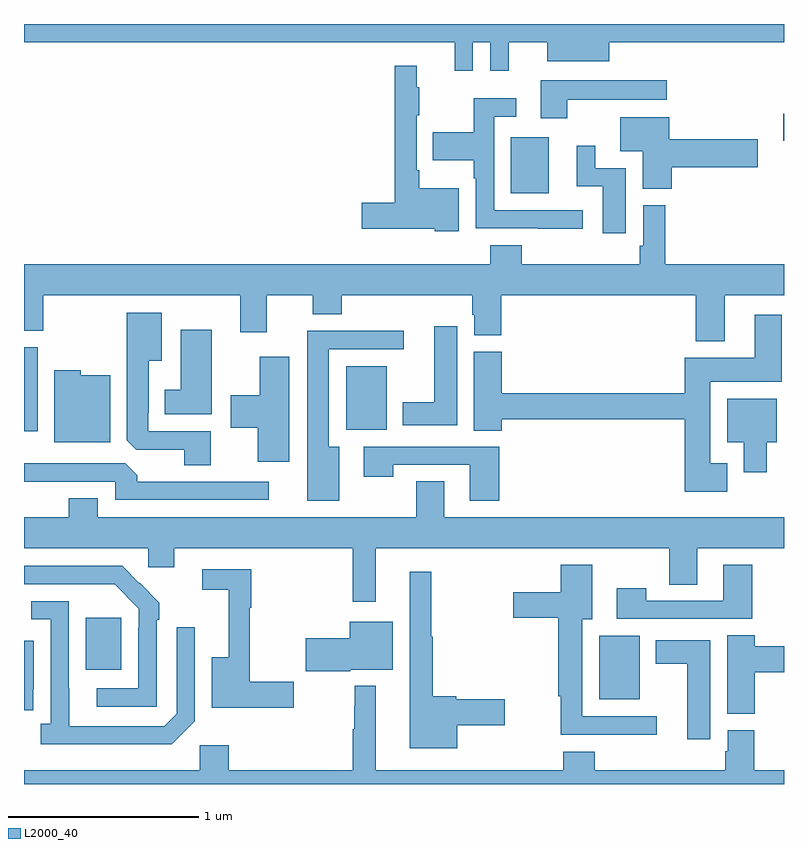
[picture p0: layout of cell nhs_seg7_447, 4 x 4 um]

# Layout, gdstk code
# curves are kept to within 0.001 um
import gdstk
lib = gdstk.Library(unit=1e-6, precision=1e-09)
def R(c, l, rs):  # rectangles x0, y0, x1, y1
    for r in rs: c.add(gdstk.rectangle(r[:2], r[2:], *l))
def P(c, l, *ps):  # polygons
    for p in ps: c.add(gdstk.Polygon(p, *l))
L2000_40 = (2000, 40)

nhs_seg7_447 = lib.new_cell('nhs_seg7_447')
R(nhs_seg7_447, L2000_40, [(148.028,1042.445,148.24,1042.78), (145.325,1042.601,145.513,1042.876), (145,1043.856,145.072,1044.3), (146.696,1043.864,146.908,1044.199), (147.563,1045.109,147.763,1045.405), (148.995,1045.385,149,1045.527)])
P(nhs_seg7_447, L2000_40, [(147.363,1045.904),(147.453,1045.904),(147.453,1045.755),(147.551,1045.755),(147.551,1045.904),(147.755,1045.904),(147.755,1045.805),(148.081,1045.805),(148.081,1045.904),(149,1045.904),(149,1046),(145,1046),(145,1045.904),(147.266,1045.904),(147.266,1045.755),(147.363,1045.755)],
  [(147.289,1045.135),(147.079,1045.135),(147.079,1045.231),(147.066,1045.231),(147.066,1045.519),(147.079,1045.519),(147.079,1045.667),(147.068,1045.667),(147.068,1045.78),(146.95,1045.78),(146.95,1045.058),(146.778,1045.058),(146.778,1044.923),(147.162,1044.923),(147.162,1044.908),(147.289,1044.908)],
  [(147.859,1045.601),(148.384,1045.601),(148.384,1045.705),(147.719,1045.705),(147.719,1045.503),(147.859,1045.503)],
  [(147.94,1045.02),(147.474,1045.02),(147.474,1045.512),(147.592,1045.512),(147.592,1045.609),(147.366,1045.609),(147.366,1045.43),(147.151,1045.43),(147.151,1045.283),(147.366,1045.283),(147.366,1045.187),(147.378,1045.187),(147.378,1044.924),(147.703,1044.924),(147.703,1044.923),(147.94,1044.923)],
  [(148.409,1045.247),(148.861,1045.247),(148.861,1045.394),(148.396,1045.394),(148.396,1045.51),(148.139,1045.51),(148.139,1045.331),(148.256,1045.331),(148.256,1045.134),(148.409,1045.134)],
  [(148.168,1045.242),(148.006,1045.242),(148.006,1045.36),(147.908,1045.36),(147.908,1045.146),(148.046,1045.146),(148.046,1044.9),(148.168,1044.9)],
  [(145,1044.385),(145.101,1044.385),(145.101,1044.572),(146.138,1044.572),(146.138,1044.378),(146.278,1044.378),(146.278,1044.572),(146.519,1044.572),(146.519,1044.473),(146.672,1044.473),(146.672,1044.572),(147.359,1044.572),(147.359,1044.471),(147.371,1044.471),(147.371,1044.361),(147.512,1044.361),(147.512,1044.572),(148.535,1044.572),(148.535,1044.329),(148.687,1044.329),(148.687,1044.572),(149,1044.572),(149,1044.736),(148.376,1044.736),(148.376,1045.045),(148.26,1045.045),(148.26,1044.832),(148.24,1044.832),(148.24,1044.736),(147.62,1044.736),(147.62,1044.835),(147.455,1044.835),(147.455,1044.736),(145,1044.736)],
  [(145.984,1043.856),(145.653,1043.856),(145.653,1043.953),(145.657,1043.953),(145.657,1044.227),(145.726,1044.227),(145.726,1044.481),(145.541,1044.481),(145.541,1043.809),(145.59,1043.76),(145.844,1043.76),(145.844,1043.677),(145.984,1043.677)],
  [(148.702,1043.689),(148.612,1043.689),(148.612,1044.116),(148.987,1044.116),(148.987,1044.469),(148.847,1044.469),(148.847,1044.244),(148.478,1044.244),(148.478,1044.056),(147.515,1044.056),(147.515,1044.276),(147.368,1044.276),(147.368,1043.86),(147.515,1043.86),(147.515,1043.92),(148.478,1043.92),(148.478,1043.537),(148.702,1043.537)],
  [(147.28,1044.409),(147.158,1044.409),(147.158,1044.01),(146.993,1044.01),(146.993,1043.888),(147.28,1043.888)],
  [(145.987,1044.391),(145.826,1044.391),(145.826,1044.076),(145.742,1044.076),(145.742,1043.945),(145.987,1043.945)],
  [(146.659,1043.776),(146.605,1043.776),(146.605,1044.288),(146.998,1044.288),(146.998,1044.386),(146.492,1044.386),(146.492,1043.49),(146.659,1043.49)],
  [(146.395,1044.25),(146.24,1044.25),(146.24,1044.045),(146.088,1044.045),(146.088,1043.876),(146.231,1043.876),(146.231,1043.697),(146.395,1043.697)],
  [(145.453,1044.151),(145.299,1044.151),(145.299,1044.178),(145.16,1044.178),(145.16,1043.798),(145.453,1043.798)],
  [(148.909,1043.798),(148.963,1043.798),(148.963,1044.028),(148.7,1044.028),(148.7,1043.798),(148.787,1043.798),(148.787,1043.64),(148.909,1043.64)],
  [(147.5,1043.775),(146.787,1043.775),(146.787,1043.616),(146.943,1043.616),(146.943,1043.679),(147.347,1043.679),(147.347,1043.49),(147.5,1043.49)],
  [(146.287,1043.592),(145.595,1043.592),(145.595,1043.626),(145.533,1043.688),(145,1043.688),(145,1043.592),(145.479,1043.592),(145.479,1043.496),(146.287,1043.496)],
  [(146.851,1043.24),(148.396,1043.24),(148.396,1043.05),(148.543,1043.05),(148.543,1043.24),(149,1043.24),(149,1043.404),(147.211,1043.404),(147.211,1043.594),(147.064,1043.594),(147.064,1043.404),(145.387,1043.404),(145.387,1043.503),(145.235,1043.503),(145.235,1043.404),(145,1043.404),(145,1043.24),(145.653,1043.24),(145.653,1043.142),(145.792,1043.142),(145.792,1043.24),(146.73,1043.24),(146.73,1042.959),(146.851,1042.959)],
  [(148.33,1042.356),(147.937,1042.356),(147.937,1042.868),(147.991,1042.868),(147.991,1043.155),(147.824,1043.155),(147.824,1043.008),(147.576,1043.008),(147.576,1042.874),(147.812,1042.874),(147.812,1042.463),(147.824,1042.463),(147.824,1042.259),(148.33,1042.259)],
  [(148.832,1043.155),(148.679,1043.155),(148.679,1042.965),(148.275,1042.965),(148.275,1043.029),(148.119,1043.029),(148.119,1042.869),(148.832,1042.869)],
  [(145.698,1042.865),(145.713,1042.865),(145.713,1042.953),(145.516,1043.148),(145,1043.148),(145,1043.052),(145.477,1043.052),(145.605,1042.923),(145.605,1042.823),(145.602,1042.823),(145.602,1042.503),(145.383,1042.503),(145.383,1042.407),(145.698,1042.407)],
  [(146.419,1042.539),(146.188,1042.539),(146.188,1042.927),(146.195,1042.927),(146.195,1043.13),(145.938,1043.13),(145.938,1043.022),(146.078,1043.022),(146.078,1042.666),(145.988,1042.666),(145.988,1042.402),(146.419,1042.402)],
  [(147.28,1042.31),(147.529,1042.31),(147.529,1042.445),(147.276,1042.445),(147.276,1042.463),(147.151,1042.463),(147.151,1042.775),(147.143,1042.775),(147.143,1043.116),(147.029,1043.116),(147.029,1042.187),(147.28,1042.187)],
  [(145.899,1042.329),(145.899,1042.825),(145.803,1042.825),(145.803,1042.371),(145.737,1042.305),(145.237,1042.305),(145.236,1042.962),(145.038,1042.962),(145.038,1042.866),(145.14,1042.866),(145.14,1042.318),(145.089,1042.318),(145.089,1042.208),(145.778,1042.208)],
  [(146.718,1042.601),(146.941,1042.601),(146.941,1042.855),(146.714,1042.855),(146.714,1042.767),(146.484,1042.767),(146.484,1042.594),(146.718,1042.594)],
  [(148.847,1042.588),(149,1042.588),(149,1042.724),(148.847,1042.724),(148.847,1042.784),(148.7,1042.784),(148.7,1042.369),(148.847,1042.369)],
  [(148.612,1042.756),(148.325,1042.756),(148.325,1042.634),(148.49,1042.634),(148.49,1042.236),(148.612,1042.236)],
  [(145.049,1042.498),(145.05,1042.498),(145.05,1042.753),(145,1042.753),(145,1042.389),(145.049,1042.389)],
  [(149,1042.072),(148.844,1042.072),(148.844,1042.284),(148.703,1042.284),(148.703,1042.173),(148.691,1042.173),(148.691,1042.072),(148.004,1042.072),(148.004,1042.171),(147.839,1042.171),(147.839,1042.072),(146.851,1042.072),(146.851,1042.516),(146.741,1042.516),(146.741,1042.409),(146.737,1042.409),(146.737,1042.289),(146.73,1042.289),(146.73,1042.072),(146.078,1042.072),(146.078,1042.204),(145.926,1042.204),(145.926,1042.072),(145,1042.072),(145,1042),(149,1042)])

lib.write_gds('nhs_seg7_447.gds')
